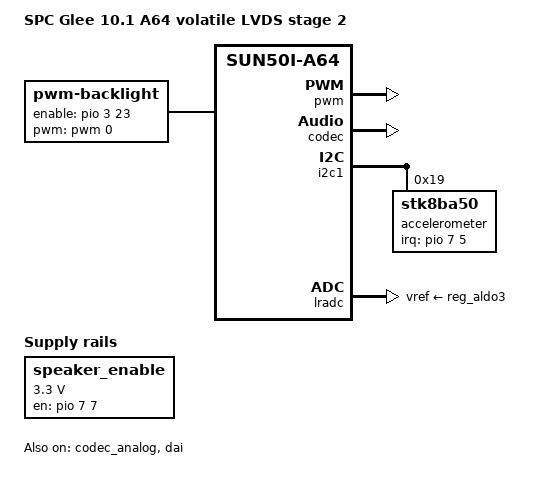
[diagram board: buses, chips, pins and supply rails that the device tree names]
// SPDX-License-Identifier: (GPL-2.0+ OR MIT)

#include "sun50i-a64-spc-glee-display-stage1.dts"
#include <dt-bindings/input/input.h>
#include <dt-bindings/pwm/pwm.h>

/ {
	model = "SPC Glee 10.1 A64 volatile LVDS stage 2";

	backlight: backlight {
		compatible = "pwm-backlight";
		pwms = <&pwm 0 20000 PWM_POLARITY_INVERTED>;
		brightness-levels = <0 32 64 128 255>;
		default-brightness-level = <1>;
		enable-gpios = <&pio 3 23 GPIO_ACTIVE_HIGH>; /* PD23 */
		post-pwm-on-delay-ms = <20>;
		pwm-off-delay-ms = <20>;
	};

	speaker_enable: speaker-enable {
		compatible = "regulator-fixed";
		regulator-name = "speaker-enable";
		regulator-min-microvolt = <3300000>;
		regulator-max-microvolt = <3300000>;
		gpio = <&pio 7 7 GPIO_ACTIVE_HIGH>; /* PH7 */
		enable-active-high;
		regulator-boot-on;
		regulator-always-on;
	};

};

&panel_lvds {
	backlight = <&backlight>;
};

&pwm {
	status = "okay";
};

&codec {
	status = "okay";
};

&codec_analog {
	cpvdd-supply = <&reg_eldo1>;
	status = "okay";
};

&dai {
	status = "okay";
};

&sound {
	status = "okay";
};

&i2c1 {
	status = "okay";

	accelerometer@19 {
		compatible = "stk8ba50";
		reg = <0x19>;
		interrupt-parent = <&pio>;
		interrupts = <7 5 IRQ_TYPE_EDGE_RISING>; /* PH5 */
	};
};

&i2c1_pins {
	bias-pull-up;
};

&lradc {
	vref-supply = <&reg_aldo3>;
	status = "okay";

	button-500 {
		label = "Volume Down";
		linux,code = <KEY_VOLUMEDOWN>;
		channel = <0>;
		voltage = <500000>;
	};
};
